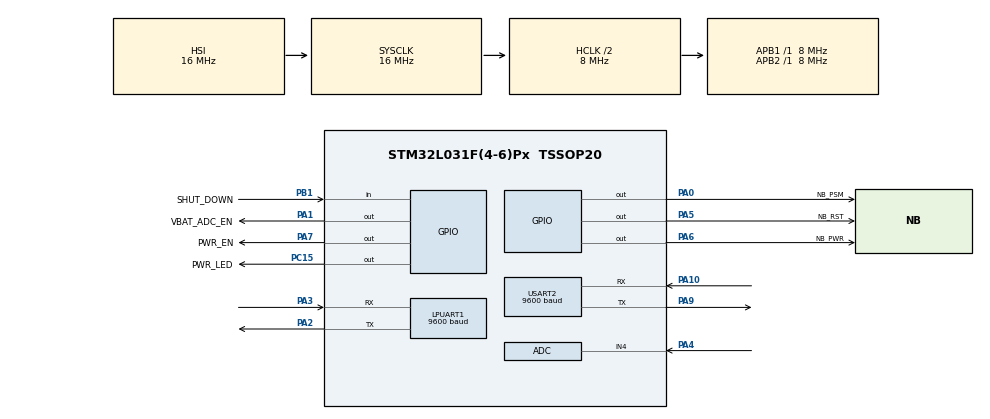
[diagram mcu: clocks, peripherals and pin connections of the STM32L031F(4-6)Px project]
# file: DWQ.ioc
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ADC.ContinuousConvMode=ENABLE
ADC.LowPowerAutoPowerOff=ENABLE
ADC.LowPowerAutoWait=ENABLE
ADC.SamplingTime=ADC_SAMPLETIME_160CYCLES_5
LPUART1.BaudRate=9600
LPUART1.WordLength=UART_WORDLENGTH_8B
Mcu.Family=STM32L0
Mcu.Name=STM32L031F(4-6)Px
Mcu.Package=TSSOP20
NVIC.LPUART1_IRQn=true\:0\:0\:false\:false\:true\:true\:true
NVIC.USART2_IRQn=true\:0\:0\:false\:false\:true\:true\:true
PA0-CK_IN.GPIO_Label=NB_PSM
PA0-CK_IN.GPIO_PuPd=GPIO_NOPULL
PA0-CK_IN.Signal=GPIO_Output
PA1.GPIO_Label=VBAT_ADC_EN
PA1.Signal=GPIO_Output
PA10.Mode=Asynchronous
PA10.Signal=USART2_RX
PA13.Mode=Serial_Wire
PA13.Signal=SYS_SWDIO
PA14.Mode=Serial_Wire
PA14.Signal=SYS_SWCLK
PA2.Mode=Asynchronous
PA2.Signal=LPUART1_TX
PA3.Mode=Asynchronous
PA3.Signal=LPUART1_RX
PA4.Mode=IN4
PA4.Signal=ADC_IN4
PA5.GPIO_Label=NB_RST
PA5.Signal=GPIO_Output
PA6.GPIO_Label=NB_PWR
PA6.Signal=GPIO_Output
PA7.GPIO_Label=PWR_EN
PA7.Signal=GPIO_Output
PA9.Mode=Asynchronous
PA9.Signal=USART2_TX
PB1.GPIO_Label=SHUT_DOWN
PB1.GPIO_PuPd=GPIO_PULLUP
PB1.Signal=GPIO_Input
PC15-OSC32_OUT.GPIO_Label=PWR_LED
PC15-OSC32_OUT.PinState=GPIO_PIN_SET
PC15-OSC32_OUT.Signal=GPIO_Output
ProjectManager.HeapSize=0x200
ProjectManager.StackSize=0x400
ProjectManager.TargetToolchain=MDK-ARM V5.32
RCC.AHBCLKDivider=RCC_SYSCLK_DIV2
RCC.AHBFreq_Value=8000000
RCC.APB1Freq_Value=8000000
RCC.APB1TimFreq_Value=8000000
RCC.APB2Freq_Value=8000000
RCC.APB2TimFreq_Value=8000000
RCC.HCLKFreq_Value=8000000
RCC.HSE_VALUE=8000000
RCC.HSI16_VALUE=16000000
RCC.HSI_VALUE=16000000
RCC.LSE_VALUE=32768
RCC.MSI_VALUE=2097000
RCC.SYSCLKFreq_VALUE=16000000
RCC.SYSCLKSource=RCC_SYSCLKSOURCE_HSI
RCC.VCOOutputFreq_Value=48000000
USART2.BaudRate=9600
USART2.VirtualMode-Asynchronous=VM_ASYNC
VP_ADC_Vref_Input.Mode=IN-Vrefint
board=custom

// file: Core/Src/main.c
/* USER CODE BEGIN Header */
/**
  ******************************************************************************
  * @file           : main.c
  * @brief          : Main program body
  ******************************************************************************
  * @attention
  *
  * <h2><center>&copy; Copyright (c) 2023 STMicroelectronics.
  * All rights reserved.</center></h2>
  *
  * This software component is licensed by ST under BSD 3-Clause license,
  * the "License"; You may not use this file except in compliance with the
  * License. You may obtain a copy of the License at:
  *                        opensource.org/licenses/BSD-3-Clause
  *
  ******************************************************************************
  */
/* USER CODE END Header */
#include "main.h"

/* USER CODE BEGIN Includes */
#include "stdio.h"
#include "string.h"
#include "stdbool.h"
#include <stdlib.h>

/* USER CODE END Includes */

ADC_HandleTypeDef hadc;

UART_HandleTypeDef hlpuart1;
UART_HandleTypeDef huart2;

/* USER CODE BEGIN PV */
extern uint8_t Res2_Buf[256];
extern uint8_t Res2_Count;
extern uint8_t Res2_Sign;
extern uint8_t Res2;

extern uint8_t Res1_Buf[256];
extern uint8_t Res1_Count;
extern uint8_t Res1_Sign;
extern uint8_t Res1;

extern void Get_BAT_Value(void);
extern uint8_t Set_Cmd2NB(uint8_t *cmd, uint8_t len, char *recdata);
extern void NB_Rec_Handle(void);

uint16_t BAT_DATA;
float BAT_VALUE;
uint16_t VREFINT_CAL;
uint16_t VREFINT_DATA;
float VDDA_Value;

uint32_t main_count = 3000;
uint8_t i = 0;
uint8_t NB_SINGAL_VALUE = 0;
float Latitude;
float Longitude;
float Altitude;

char MIPLOBSERVERSP[50];
int MIPLOBSERVERSP_3320;
int MIPLOBSERVERSP_3336;
char * MIPLDISCOVER;
uint8_t iot_flag = 0;
uint8_t GPS_flag = 0;
uint8_t SHUT_DOWN_FLAG = 0;
char iot_info[256];
char iot_info2[100];
// uint8_t test[256];
/* USER CODE END PV */

void SystemClock_Config(void);
static void MX_GPIO_Init(void);
static void MX_ADC_Init(void);
static void MX_LPUART1_UART_Init(void);
static void MX_USART2_UART_Init(void);

/* USER CODE BEGIN 0 */
int fputc(int ch, FILE *f)
{
  while ((USART2->ISR&0X40) == 0);
  USART2->TDR = (uint8_t)ch;
  return ch;

}
/* USER CODE END 0 */

int main(void)
{
  /* USER CODE BEGIN 1 */
  float temp = 0.0f;
  uint8_t BAT_Q = 0;
  uint8_t BAT_Q_LAST = 0;
  /* USER CODE END 1 */

  /* MCU Configuration--------------------------------------------------------*/

  /* Reset of all peripherals, Initializes the Flash interface and the Systick. */
  HAL_Init();

  /* Configure the system clock */
  SystemClock_Config();

  /* Initialize all configured peripherals */
  MX_GPIO_Init();
  MX_ADC_Init();
  MX_LPUART1_UART_Init();
  MX_USART2_UART_Init();
  /* USER CODE BEGIN 2 */
  HAL_GPIO_WritePin(PWR_LED_GPIO_Port, PWR_LED_Pin, GPIO_PIN_RESET);  //点亮电源指示灯
  HAL_GPIO_WritePin(PWR_EN_GPIO_Port, PWR_EN_Pin, GPIO_PIN_SET); //让电路板保持上电
  while(HAL_GPIO_ReadPin(SHUT_DOWN_GPIO_Port, SHUT_DOWN_Pin) == 0);

  //给NB20模组开机
  HAL_GPIO_WritePin(NB_PWR_GPIO_Port, NB_PWR_Pin, GPIO_PIN_SET);
  HAL_Delay(600);
  HAL_GPIO_WritePin(NB_PWR_GPIO_Port, NB_PWR_Pin, GPIO_PIN_RESET);
  //给NB20模组重启
  HAL_GPIO_WritePin(NB_PWR_GPIO_Port, NB_RST_Pin, GPIO_PIN_SET);
  HAL_Delay(60);
  HAL_GPIO_WritePin(NB_PWR_GPIO_Port, NB_RST_Pin, GPIO_PIN_RESET);

  HAL_Delay(30000); //等待BC20连接基站

  while(Set_Cmd2NB("AT\r\n", 4, "OK") != 0)  //AT回复正确之后再进行以下操作
  {
    HAL_Delay(1000);
  }
  printf("NB模组正常\r\n");

  Set_Cmd2NB("ATE0\r\n", 6, "OK"); //关闭回显
  printf("已关闭回显\r\n");

  while((NB_SINGAL_VALUE == 0) || (NB_SINGAL_VALUE == 99)) //检测信号
  {
    if(Set_Cmd2NB("AT+CSQ\r\n", 8, "OK") == 0)
    {
      if(Res1_Buf[9] == ',')  //信号量为个位数
      {
        NB_SINGAL_VALUE = Res1_Buf[8] - 48;
      }
      else if(Res1_Buf[10] == ',')  //信号量为10个位数
      {
        NB_SINGAL_VALUE = (Res1_Buf[8]-48)*10+(Res1_Buf[9]-48);
      }
    }
    HAL_Delay(1000);
  }
  printf("检测信号值:%d\r\n",NB_SINGAL_VALUE);

  while(Set_Cmd2NB("AT+CEREG?\r\n",11,"+CEREG: 0,1")  != 0) //等待ESP网络注册
  {
    HAL_Delay(1000);
  }
  printf("EPS网络注册成功\r\n");

  while(Set_Cmd2NB("AT+CGATT?\r\n",11,"+CGATT: 1")  != 0) //等待PS附着
  {
    HAL_Delay(1000);
  }
  printf("PS附着成功\r\n");

  while(Set_Cmd2NB("AT+QGNSSC=1\r\n",13,"OK")  != 0) //打开GNSS电源
  {
    HAL_Delay(1000);
  }
  HAL_Delay(2000);
  while(Set_Cmd2NB("AT+QGNSSC?\r\n",12,"+QGNSSC: 1")  != 0) //检测GNSS电源
  {
    HAL_Delay(1000);
  }
  printf("GNSS电源已打开\r\n");

  Set_Cmd2NB("AT+MIPLCREATE\r\n",15,"+MIPLCREATE: 0");  //创建通信套件实例。
  Set_Cmd2NB("AT+MIPLADDOBJ=0,3320,1,\"1\",1,0\r\n",32,"OK"); //添加 LwM2M 对象。
  // Set_Cmd2NB("AT+MIPLADDOBJ=0,3336,1,\"1\",4,0\r\n",32,"OK"); //添加 LwM2M 对象。
  Set_Cmd2NB("AT+MIPLADDOBJ=0,3336,1,\"1\",3,0\r\n",32,"OK"); //添加 LwM2M 对象。
  Set_Cmd2NB("AT+MIPLOPEN=0,86400\r\n",21,"OK");  //向 OneNET 发送注册请求。

  Set_Cmd2NB("AT+QSCLK=0\r\n", 12, "OK"); //关闭休眠模式

  // Set_Cmd2NB("AT+QGNSSRD=\"NMEA/RMC\"\r\n", 23, "OK"); //查询定位

  /* USER CODE END 2 */

  /* Infinite loop */
  /* USER CODE BEGIN WHILE */
  while (1)
  {

    if (Res2_Sign == 1) //如果串口发送数据
    {
      //接收直至最后一个字节，再延时10ms
      do {
        Res2++;
        HAL_Delay(1);
      } while (Res2 < 10);
      Res2_Sign = 0;
      HAL_UART_Transmit(&hlpuart1, Res2_Buf, Res2_Count, 1000); //把接收到的数据发送给BC20模组
      Res2_Count = 0;
    }

    if (Res1_Sign == 1) //如果BC20发送数据
    {
      //接收直至最后一个字节，再延时10ms
      do {
        Res1++;
        HAL_Delay(1);
      } while (Res1 < 10);
      Res1_Sign = 0;
      HAL_UART_Transmit(&huart2, Res1_Buf, Res1_Count, 1000); //把接收到的数据发送给USB串口
      Res1_Count = 0;
      NB_Rec_Handle();
    }

    /* USER CODE END WHILE */

    /* USER CODE BEGIN 3 */
    if (HAL_GPIO_ReadPin(SHUT_DOWN_GPIO_Port, SHUT_DOWN_Pin) == 0)  //循环检测引脚状态控制开关机
    {
      HAL_GPIO_WritePin(PWR_LED_GPIO_Port, PWR_LED_Pin, GPIO_PIN_SET);  //关闭电源指示灯
      while(HAL_GPIO_ReadPin(SHUT_DOWN_GPIO_Port, SHUT_DOWN_Pin) == 0); //等待按键松开
      HAL_GPIO_WritePin(PWR_EN_GPIO_Port, PWR_EN_Pin, GPIO_PIN_RESET); //让电路板掉电
    }

    HAL_Delay(0);
    main_count++;
    if (main_count > 5000)
    {
      if (iot_flag == 4)
      {
        main_count = 0;
        Get_BAT_Value();
        temp = 0;
        for (size_t i = 0; i < 10; i++)
        {
          Get_BAT_Value();
          temp += BAT_VALUE;
        }
        BAT_VALUE = temp/10;
        if (BAT_VALUE > 4.1)
        {
          BAT_Q = 100;
        }
        else if (BAT_VALUE < 3.0)
        {
          BAT_Q = 0;
          SHUT_DOWN_FLAG++;
          if (SHUT_DOWN_FLAG>3)
            HAL_GPIO_WritePin(PWR_EN_GPIO_Port, PWR_EN_Pin, GPIO_PIN_RESET); //软件关机
        }
        else
        {
          BAT_Q = 100 - (4.1 - BAT_VALUE) * (100/(4.1-3.0));
        }

        //电池电量变化上传
        if (BAT_Q_LAST != BAT_Q)
        {
          memset(iot_info, 0, sizeof(iot_info));
          sprintf(iot_info,"AT+MIPLNOTIFY=0,%d,3320,0,5700,4,4,%d,0,0\r\n",MIPLOBSERVERSP_3320,BAT_Q);
          Set_Cmd2NB((uint8_t *)iot_info,strlen(iot_info),"OK");
          BAT_Q_LAST = BAT_Q;
        }
        //GPS信息上传
        Set_Cmd2NB("AT+QGNSSRD=\"NMEA/GGA\"\r\n",23,"+QGNSSRD: $GNGGA");  //发送定位请求
        NB_Rec_Handle();  //处理返回的定位数据
        // printf("299行:GPS_flag=%d,Latitude=%02.4f,Longitude=%03.4f,Altitude=%02.2f\r\n",GPS_flag,Latitude,Longitude,Altitude);
        if(GPS_flag)
        {
          memset(iot_info, 0,  sizeof(iot_info));
          memset(iot_info2, 0, 100);
          sprintf(iot_info2,"%02.4f",Latitude);
          sprintf(iot_info,"AT+MIPLNOTIFY=0,%d,3336,0,5513,1,%d,\"%s\",0,0\r\n",MIPLOBSERVERSP_3336,strlen(iot_info2),iot_info2); //纬度
          Set_Cmd2NB((uint8_t *)iot_info,strlen(iot_info),"OK");
          memset(iot_info, 0,  sizeof(iot_info));
          memset(iot_info2, 0, 100);
          sprintf(iot_info2,"%03.4f",Longitude);
          sprintf(iot_info,"AT+MIPLNOTIFY=0,%d,3336,0,5514,1,%d,\"%s\",0,0\r\n",MIPLOBSERVERSP_3336,strlen(iot_info2),iot_info2); //经度
          Set_Cmd2NB((uint8_t *)iot_info,strlen(iot_info),"OK");
          memset(iot_info, 0,  sizeof(iot_info));
          memset(iot_info2, 0, 100);
          sprintf(iot_info2,"%02.2f",Altitude);
          sprintf(iot_info,"AT+MIPLNOTIFY=0,%d,3336,0,5515,1,%d,\"%s\",0,0\r\n",MIPLOBSERVERSP_3336,strlen(iot_info2),iot_info2); //海拔
          Set_Cmd2NB((uint8_t *)iot_info,strlen(iot_info),"OK");
        }
      }
    }

  }
  /* USER CODE END 3 */
}

void SystemClock_Config(void)
{
  RCC_OscInitTypeDef RCC_OscInitStruct = {0};
  RCC_ClkInitTypeDef RCC_ClkInitStruct = {0};
  RCC_PeriphCLKInitTypeDef PeriphClkInit = {0};

  /** Configure the main internal regulator output voltage
  */
  __HAL_PWR_VOLTAGESCALING_CONFIG(PWR_REGULATOR_VOLTAGE_SCALE1);
  /** Initializes the RCC Oscillators according to the specified parameters
  * in the RCC_OscInitTypeDef structure.
  */
  RCC_OscInitStruct.OscillatorType = RCC_OSCILLATORTYPE_HSI;
  RCC_OscInitStruct.HSIState = RCC_HSI_ON;
  RCC_OscInitStruct.HSICalibrationValue = RCC_HSICALIBRATION_DEFAULT;
  RCC_OscInitStruct.PLL.PLLState = RCC_PLL_NONE;
  if (HAL_RCC_OscConfig(&RCC_OscInitStruct) != HAL_OK)
  {
    Error_Handler();
  }
  /** Initializes the CPU, AHB and APB buses clocks
  */
  RCC_ClkInitStruct.ClockType = RCC_CLOCKTYPE_HCLK|RCC_CLOCKTYPE_SYSCLK
                              |RCC_CLOCKTYPE_PCLK1|RCC_CLOCKTYPE_PCLK2;
  RCC_ClkInitStruct.SYSCLKSource = RCC_SYSCLKSOURCE_HSI;
  RCC_ClkInitStruct.AHBCLKDivider = RCC_SYSCLK_DIV2;
  RCC_ClkInitStruct.APB1CLKDivider = RCC_HCLK_DIV1;
  RCC_ClkInitStruct.APB2CLKDivider = RCC_HCLK_DIV1;

  if (HAL_RCC_ClockConfig(&RCC_ClkInitStruct, FLASH_LATENCY_0) != HAL_OK)
  {
    Error_Handler();
  }
  PeriphClkInit.PeriphClockSelection = RCC_PERIPHCLK_USART2|RCC_PERIPHCLK_LPUART1;
  PeriphClkInit.Usart2ClockSelection = RCC_USART2CLKSOURCE_PCLK1;
  PeriphClkInit.Lpuart1ClockSelection = RCC_LPUART1CLKSOURCE_PCLK1;
  if (HAL_RCCEx_PeriphCLKConfig(&PeriphClkInit) != HAL_OK)
  {
    Error_Handler();
  }
}

static void MX_ADC_Init(void)
{

  /* USER CODE BEGIN ADC_Init 0 */
  uint8_t i = 0;
  /* USER CODE END ADC_Init 0 */

  ADC_ChannelConfTypeDef sConfig = {0};

  /** Configure the global features of the ADC (Clock, Resolution, Data Alignment and number of conversion)
  */
  hadc.Instance = ADC1;
  hadc.Init.OversamplingMode = DISABLE;
  hadc.Init.ClockPrescaler = ADC_CLOCK_SYNC_PCLK_DIV2;
  hadc.Init.Resolution = ADC_RESOLUTION_12B;
  hadc.Init.SamplingTime = ADC_SAMPLETIME_160CYCLES_5;
  hadc.Init.ScanConvMode = ADC_SCAN_DIRECTION_FORWARD;
  hadc.Init.DataAlign = ADC_DATAALIGN_RIGHT;
  hadc.Init.ContinuousConvMode = ENABLE;
  hadc.Init.DiscontinuousConvMode = DISABLE;
  hadc.Init.ExternalTrigConvEdge = ADC_EXTERNALTRIGCONVEDGE_NONE;
  hadc.Init.ExternalTrigConv = ADC_SOFTWARE_START;
  hadc.Init.DMAContinuousRequests = DISABLE;
  hadc.Init.EOCSelection = ADC_EOC_SINGLE_CONV;
  hadc.Init.Overrun = ADC_OVR_DATA_PRESERVED;
  hadc.Init.LowPowerAutoWait = ENABLE;
  hadc.Init.LowPowerFrequencyMode = DISABLE;
  hadc.Init.LowPowerAutoPowerOff = ENABLE;
  if (HAL_ADC_Init(&hadc) != HAL_OK)
  {
    Error_Handler();
  }
  /** Configure for the selected ADC regular channel to be converted.
  */
  sConfig.Channel = ADC_CHANNEL_4;
  sConfig.Rank = ADC_RANK_CHANNEL_NUMBER;
  if (HAL_ADC_ConfigChannel(&hadc, &sConfig) != HAL_OK)
  {
    Error_Handler();
  }
  /** Configure for the selected ADC regular channel to be converted.
  */
  sConfig.Channel = ADC_CHANNEL_VREFINT;
  if (HAL_ADC_ConfigChannel(&hadc, &sConfig) != HAL_OK)
  {
    Error_Handler();
  }
  /* USER CODE BEGIN ADC_Init 2 */
  ADC1->CR |= ADC_CR_ADCAL;
  i = 0;
  while(((ADC1->ISR&ADC_ISR_EOCAL)!=ADC_ISR_EOCAL) && (i < 10))
  {
    i++;
    HAL_Delay(1);
  };
  if (i == 10)
    printf("ADC校准失败\r\n");
  ADC1->ISR |= ADC_ISR_EOCAL;
  VREFINT_CAL = *(uint16_t *)0X1FF80078;
  // HAL_ADC_Start(&hadc);
  ADC1->CR |= ADC_CR_ADSTART;

  /* USER CODE END ADC_Init 2 */

}

static void MX_LPUART1_UART_Init(void)
{

  hlpuart1.Instance = LPUART1;
  hlpuart1.Init.BaudRate = 115200;
  hlpuart1.Init.WordLength = UART_WORDLENGTH_8B;
  hlpuart1.Init.StopBits = UART_STOPBITS_1;
  hlpuart1.Init.Parity = UART_PARITY_NONE;
  hlpuart1.Init.Mode = UART_MODE_TX_RX;
  hlpuart1.Init.HwFlowCtl = UART_HWCONTROL_NONE;
  hlpuart1.Init.OneBitSampling = UART_ONE_BIT_SAMPLE_DISABLE;
  hlpuart1.AdvancedInit.AdvFeatureInit = UART_ADVFEATURE_NO_INIT;
  if (HAL_UART_Init(&hlpuart1) != HAL_OK)
  {
    Error_Handler();
  }
  /* USER CODE BEGIN LPUART1_Init 2 */
  __HAL_UART_ENABLE_IT(&hlpuart1, UART_IT_RXNE);  //打开串口接收中断
  /* USER CODE END LPUART1_Init 2 */

}

static void MX_USART2_UART_Init(void)
{

  huart2.Instance = USART2;
  huart2.Init.BaudRate = 115200;
  huart2.Init.WordLength = UART_WORDLENGTH_8B;
  huart2.Init.StopBits = UART_STOPBITS_1;
  huart2.Init.Parity = UART_PARITY_NONE;
  huart2.Init.Mode = UART_MODE_TX_RX;
  huart2.Init.HwFlowCtl = UART_HWCONTROL_NONE;
  huart2.Init.OverSampling = UART_OVERSAMPLING_16;
  huart2.Init.OneBitSampling = UART_ONE_BIT_SAMPLE_DISABLE;
  huart2.AdvancedInit.AdvFeatureInit = UART_ADVFEATURE_NO_INIT;
  if (HAL_UART_Init(&huart2) != HAL_OK)
  {
    Error_Handler();
  }
  /* USER CODE BEGIN USART2_Init 2 */
  __HAL_UART_ENABLE_IT(&huart2, UART_IT_RXNE);  //打开串口接收中断
  /* USER CODE END USART2_Init 2 */

}

static void MX_GPIO_Init(void)
{
  GPIO_InitTypeDef GPIO_InitStruct = {0};

  /* GPIO Ports Clock Enable */
  __HAL_RCC_GPIOC_CLK_ENABLE();
  __HAL_RCC_GPIOA_CLK_ENABLE();
  __HAL_RCC_GPIOB_CLK_ENABLE();

  /*Configure GPIO pin Output Level */
  HAL_GPIO_WritePin(PWR_LED_GPIO_Port, PWR_LED_Pin, GPIO_PIN_SET);

  /*Configure GPIO pin Output Level */
  HAL_GPIO_WritePin(GPIOA, NB_PSM_Pin|VBAT_ADC_EN_Pin|NB_RST_Pin|NB_PWR_Pin
                          |PWR_EN_Pin, GPIO_PIN_RESET);

  /*Configure GPIO pin : PWR_LED_Pin */
  GPIO_InitStruct.Pin = PWR_LED_Pin;
  GPIO_InitStruct.Mode = GPIO_MODE_OUTPUT_PP;
  GPIO_InitStruct.Pull = GPIO_NOPULL;
  GPIO_InitStruct.Speed = GPIO_SPEED_FREQ_LOW;
  HAL_GPIO_Init(PWR_LED_GPIO_Port, &GPIO_InitStruct);

  /*Configure GPIO pins : NB_PSM_Pin VBAT_ADC_EN_Pin NB_RST_Pin NB_PWR_Pin
                           PWR_EN_Pin */
  GPIO_InitStruct.Pin = NB_PSM_Pin|VBAT_ADC_EN_Pin|NB_RST_Pin|NB_PWR_Pin
                          |PWR_EN_Pin;
  GPIO_InitStruct.Mode = GPIO_MODE_OUTPUT_PP;
  GPIO_InitStruct.Pull = GPIO_NOPULL;
  GPIO_InitStruct.Speed = GPIO_SPEED_FREQ_LOW;
  HAL_GPIO_Init(GPIOA, &GPIO_InitStruct);

  /*Configure GPIO pin : SHUT_DOWN_Pin */
  GPIO_InitStruct.Pin = SHUT_DOWN_Pin;
  GPIO_InitStruct.Mode = GPIO_MODE_INPUT;
  GPIO_InitStruct.Pull = GPIO_PULLUP;
  HAL_GPIO_Init(SHUT_DOWN_GPIO_Port, &GPIO_InitStruct);

}

/* USER CODE BEGIN 4 */
void Get_BAT_Value(void)
{
  i = 0;
  while(((ADC1->ISR&ADC_ISR_EOC)!=ADC_ISR_EOC) && (i<10))
  {
    HAL_Delay(1);
    i++;
  }
  if (i == 10)
  {
    printf("通道4转换超时\r\n");
  }
  BAT_DATA = ADC1->DR;
  i = 0;
  while(((ADC1->ISR&ADC_ISR_EOC)!=ADC_ISR_EOC) && (i<10))
  {
    HAL_Delay(1);
    i++;
  }
  if (i == 10)
  {
    printf("通道17转换超时\r\n");
  }
  VREFINT_DATA = ADC1->DR;
  VDDA_Value = 3.0f*VREFINT_CAL/VREFINT_DATA;
  BAT_VALUE = VDDA_Value*BAT_DATA/4096*2;
}

/**
 * @brief 向BC20发送命令
 *
 * @param cmd 表示要发送的命令
 * @param len 命令的长度
 * @param recdata 接收的响应是否包含该字符串
 * @return uint8_t 0正确；1没有接收到响应；2接收到响应但不符合要求
 */
uint8_t Set_Cmd2NB(uint8_t *cmd, uint8_t len, char *recdata)
{
  uint8_t ret;
  uint16_t count = 0;
  memset(Res1_Buf,0,sizeof(Res1_Buf));

  HAL_UART_Transmit(&hlpuart1, cmd, len, 1000);
  while ((Res1_Sign == 0) && (count < 300))
  {
    count++;
    HAL_Delay(1);
  }

  if (count == 300)
  {
    ret = 1;  //未收到BC20的响应
  }
  else
  {
    do {
        Res1++;
        HAL_Delay(1);
      } while (Res1 < 10);
    ////////////////////////////////
    Res1_Sign = 0;
    HAL_UART_Transmit(&huart2, Res1_Buf, Res1_Count, 1000); //把接收到的数据发送给USB串口
    Res1_Count = 0;

    ret = 2;
    if(strstr((const char*)Res1_Buf,recdata)) //如果接受到的数据里面有这个字符串
    {
      ret = 0;  //正确收到相应
    }
  }

  return ret;

}

/**
 * @brief 处理NB的返回数据
 *
 */
void NB_Rec_Handle(void)
{
  if (iot_flag != 4)
  {
    if(strstr((const char*)Res1_Buf,"+MIPLOBSERVE"))  //接收到订阅请求。
    {
      char *temp = strtok((char *)Res1_Buf,",");
      temp = strtok(NULL,",");
      strcpy(MIPLOBSERVERSP,temp);
      temp = strtok(NULL,",");
      temp = strtok(NULL,",");
      if (strstr(temp,"3320"))
      {
        MIPLOBSERVERSP_3320 = atoi(MIPLOBSERVERSP);
      }
      else if (strstr(temp,"3336"))
      {
        MIPLOBSERVERSP_3336 = atoi(MIPLOBSERVERSP);
      }
      printf("接收订阅请求的数据：MIPLOBSERVERSP=%s\r\n",MIPLOBSERVERSP);
      memset(iot_info,0,sizeof(iot_info));
      sprintf(iot_info,"AT+MIPLOBSERVERSP=0,%s,1\r\n",MIPLOBSERVERSP);
      if(Set_Cmd2NB((uint8_t*)iot_info,strlen(iot_info),"OK") == 0) //响应订阅请求，其结果码为 1。
        iot_flag++;
    }
    else if(strstr((const char*)Res1_Buf,"+MIPLDISCOVER"))  //接收到发现资源请求。
    {
      char *temp = strtok((char *)Res1_Buf,",");
      temp = strtok(NULL,",");
      MIPLDISCOVER = temp;
      temp = strtok(NULL,",");
      memset(iot_info,0,sizeof(iot_info));
      if(strstr(temp,"3320"))
      {
        sprintf(iot_info,"AT+MIPLDISCOVERRSP=0,%s,1,4,\"5700\"\r\n",MIPLDISCOVER);
      }
      else if (strstr(temp,"3336"))
      {
        // sprintf(iot_info,"AT+MIPLDISCOVERRSP=0,%s,1,19,\"5513;5514;5515;5750\"\r\n",MIPLDISCOVER);
        sprintf(iot_info,"AT+MIPLDISCOVERRSP=0,%s,1,14,\"5513;5514;5515\"\r\n",MIPLDISCOVER);
      }
      if(Set_Cmd2NB((uint8_t*)iot_info,strlen(iot_info),"OK") == 0) //使用资源 ID 列表响应发现资源请求。
        iot_flag++;
    }
  }

  if(strstr((const char*)Res1_Buf,"+QGNSSRD: $GNGGA"))
  {
    // memset(test,0,256);
    // memset(Res1_Buf,0,sizeof(Res1_Buf));
    // strcpy((char *)Res1_Buf,"\r\n+QGNSSRD: $GNGGA,025929.00,3155.9348,N,11715.7318,E,1,07,2.53,56.9,M,,M,,*6A\r\nOK\r\n");
    // for(int i=0;i<sizeof(Res1_Buf);i++){
    //   if(Res1_Buf[i]!='\r'&&Res1_Buf[i]!='\n')
    //   {
    //     test[i] = Res1_Buf[i];
    //   }
    //   else
    //   {
    //     test[i] = ' ';
    //   }
    // }
    // for(int i = 0;i<8;i++)
    // {
    //   int j = i+35;
    //   if(Res1_Buf[j]!='\r'&&Res1_Buf[j]!='\n'&&j<strlen((char *)Res1_Buf))
    //   {
    //     sprintf(iot_info2,"|Res1_Buf[%d]:%c",j,Res1_Buf[j]);
    //   }
    //   else
    //   {
    //     sprintf(iot_info2,"|Res1_Buf[%d]: ",j);
    //   }
    //   strcat((char *)test,(char *)iot_info2);
    // }
    // printf("test=%s\r\n",test);
    // memset(iot_info, 0,  sizeof(iot_info));
    // sprintf(iot_info,"AT+MIPLNOTIFY=0,%d,3336,0,5750,1,%d,\"%s\",0,0\r\n",MIPLOBSERVERSP_3336,strlen((char *)test),(char *)test); //原始GPS信息上报
    // printf("iot_info=%s\r\n",iot_info);

    if(Res1_Buf[39] == 'N')
    {
      //+QGNSSRD: $GNGGA,025929.00,3155.9348,N,11715.7318,E,1,07,2.53,56.9,M,,M,,*6A
      uint8_t i = 0;
      char *temp = strtok((char *)Res1_Buf,",");
      while(temp)
      {
          if (i == 2)
          {
            Latitude = atof(temp);
            Latitude = (int)Latitude/100 + (Latitude - (int)Latitude/100*100)/60;
          }
          else if (i == 4)
          {
            Longitude = atof(temp);
            Longitude = (int)Longitude/100 + (Longitude - (int)Longitude/100*100)/60;
          }
          else if (i == 9)
          {
            Altitude = atof(temp);
            printf("%02.2f",Altitude);
          }

          temp = strtok(NULL,",");
          i++;
      }
      GPS_flag = 1;
    }
    else if (Res1_Buf[39] != 'N')
    {
      Latitude = 0;
      Longitude = 0;
      Altitude = 0;
      GPS_flag = 0;
      printf("GNSS信号差定位不成功\r\n");
    }

    // Set_Cmd2NB((uint8_t *)iot_info,strlen(iot_info),"OK");
  }

}
/* USER CODE END 4 */

void Error_Handler(void)
{
  __disable_irq();
  while (1)
  {
  }
}

/************************ (C) COPYRIGHT STMicroelectronics *****END OF FILE****/
